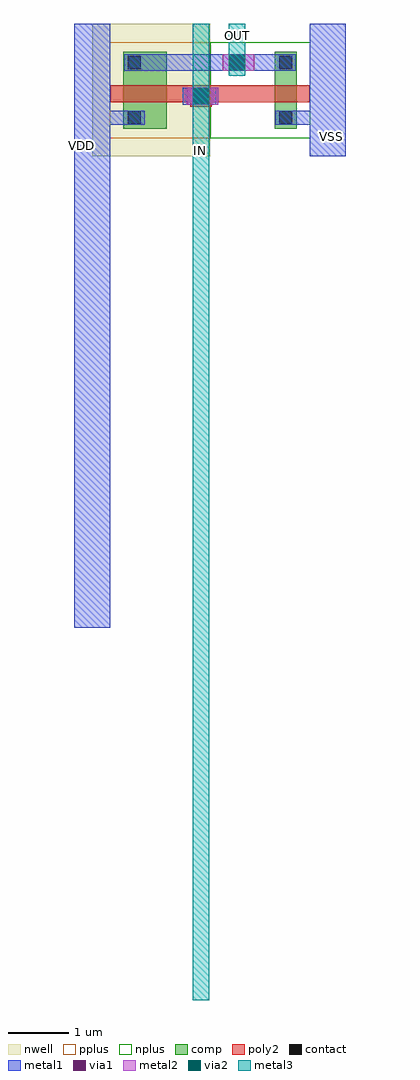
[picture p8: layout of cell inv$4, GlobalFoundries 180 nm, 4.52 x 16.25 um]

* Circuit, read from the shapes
.subckt inv$4 IN OUT VDD VSS
XM1 OUT IN VSS VSUBS nfet_03v3 w=0.36u l=0.28u
XM2 OUT IN VDD n1 pfet_03v3 w=0.72u l=0.28u
.ends

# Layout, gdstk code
import gdstk
lib = gdstk.Library(unit=1e-6, precision=5e-09)
def R(c, l, rs):  # rectangles x0, y0, x1, y1
    for r in rs: c.add(gdstk.rectangle(r[:2], r[2:], *l))
nwell = (21, 0)
comp = (22, 0)
poly2 = (30, 0)
pplus = (31, 0)
nplus = (32, 0)
contact = (33, 0)
metal1 = (34, 0)
via1 = (35, 0)
metal2 = (36, 0)
via2 = (38, 0)
metal3 = (42, 0)

inv_4 = lib.new_cell('inv$4')
R(inv_4, nwell, [(0.535,4.5,2.495,6.7)])
R(inv_4, comp, [(1.055,4.96,1.775,6.24), (3.575,4.96,3.935,6.24)])
R(inv_4, poly2, [(2.165,5.32,2.525,5.68), (0.835,5.4,4.155,5.68)])
R(inv_4, pplus, [(0.825,4.8,2.495,6.4)])
R(inv_4, nplus, [(2.495,4.8,4.165,6.4)])
R(inv_4, contact, [(1.125,5.03,1.345,5.25), (3.645,5.03,3.865,5.25), (2.235,5.39,2.455,5.61), (1.125,5.95,1.345,6.17), (3.645,5.95,3.865,6.17)])
R(inv_4, metal1, [(0.235,-3.345,0.835,6.7), (4.155,4.5,4.755,6.7), (0.835,5.025,1.405,5.255), (3.585,5.025,4.155,5.255), (2.045,5.36,2.595,5.64), (1.065,5.92,3.925,6.2)])
R(inv_4, via1, [(2.215,5.37,2.475,5.63), (2.815,5.93,3.075,6.19)])
R(inv_4, metal2, [(2.11,5.36,2.63,5.64), (2.71,5.92,3.23,6.2)])
R(inv_4, via2, [(2.215,5.37,2.475,5.63), (2.815,5.93,3.075,6.19)])
R(inv_4, metal3, [(2.205,-9.545,2.485,6.7), (2.805,5.84,3.085,6.7)])
inv_4.add(gdstk.Label('VDD', (0.36,4.675), layer=34, texttype=10))
inv_4.add(gdstk.Label('VSS', (4.52,4.82), layer=34, texttype=10))
inv_4.add(gdstk.Label('OUT', (2.95,6.505), layer=42, texttype=10))
inv_4.add(gdstk.Label('IN', (2.335,4.595), layer=42, texttype=10))

lib.write_gds('inv_4.gds')
